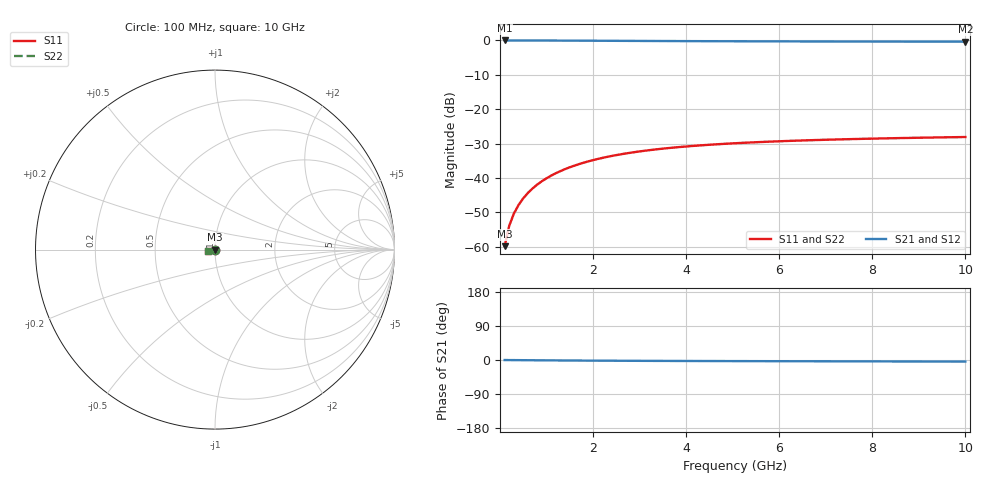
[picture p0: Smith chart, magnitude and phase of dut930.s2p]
! Touchstone file exported from HFSS 2024.1.0
!  File:  C:/UserFiles/LocalFiles/RDL_TSV_Batchsim/temp_TSV1_930_1779947010.aedt
!  Generated:  01:50:17 PM May 28, 2026
!  Design:  TSV1
!  Project:  temp_TSV1_930_1779947010
!  Setup:  Setup1
!  Solution:  Sweep
! Variables:
!  dtsv = 9.83um
!  hbump = 3um
!  htsv = 64.22um
!  lrdl = 252.1521522um
!  p = 40
!  p1 = 42.15um
!  t = 500um
!  trdl = 3um
!  wrdl = 24.89489489um
# GHz S MA R 50.000000
! Terminal data exported
! Port[1] = TSV22_T1
! Port[2] = TSV22_T2
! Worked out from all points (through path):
!   100 points, 100 MHz to 10 GHz, reference 50 ohm
!   highest |S21| = 0.00 dB at 100 MHz (marker M1); lowest = -0.4 dB at 10 GHz (marker M2)
!   lowest |S11| = -59.8 dB at 100 MHz (marker M3), VSWR 1.00, Z = 50 - j0.101 ohm
!   |S11| at or under -10 dB: start of sweep to end of sweep
!   |S22| runs from -59.8 to -28.1 dB; largest |S21 - S12| = 4.1e-15
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0.1  0.001017 -84.0  0.9998 -0.1  0.9998 -0.1  0.001017 -84.0
! Gamma 0 0 0 0
! Port Impedance 50 0 50 0
0.2  0.002026 -89.1  0.9997 -0.2  0.9997 -0.2  0.002026 -89.1
0.3  0.003038 -91.9  0.9996 -0.3  0.9996 -0.3  0.003038 -91.9
0.4  0.004048 -94.1  0.9994 -0.4  0.9994 -0.4  0.004048 -94.1
0.5  0.005051 -96.0  0.9991 -0.5  0.9991 -0.5  0.005051 -96.0
0.6  0.006044 -97.8  0.9988 -0.6  0.9988 -0.6  0.006044 -97.8
0.7  0.007026 -99.6  0.9984 -0.7  0.9984 -0.7  0.007026 -99.6
0.8  0.007994 -101.3  0.998 -0.8  0.998 -0.8  0.007994 -101.3
0.9  0.008947 -102.9  0.9976 -0.8  0.9976 -0.8  0.008947 -102.9
1.1  0.0108 -106.1  0.9966 -1.0  0.9966 -1.0  0.0108 -106.1
1.4  0.01345 -110.5  0.9949 -1.3  0.9949 -1.3  0.01345 -110.5
1.6  0.0151 -113.4  0.9936 -1.4  0.9936 -1.4  0.0151 -113.4
1.8  0.01667 -116.1  0.9922 -1.5  0.9922 -1.5  0.01667 -116.1
2.1  0.01887 -120.0  0.9902 -1.7  0.9902 -1.7  0.01887 -120.0
2.5  0.02149 -124.8  0.9873 -2.0  0.9873 -2.0  0.02149 -124.8
2.9  0.02378 -129.1  0.9846 -2.2  0.9846 -2.2  0.02378 -129.1
3.4  0.02624 -134.0  0.9814 -2.4  0.9814 -2.4  0.02624 -134.0
4.2  0.0294 -140.8  0.9768 -2.7  0.9768 -2.7  0.0294 -140.8
5.1  0.0321 -147.2  0.9725 -2.9  0.9725 -2.9  0.0321 -147.2
6.7  0.03544 -156.2  0.9669 -3.4  0.9669 -3.4  0.03544 -156.2
8.4  0.03779 -163.7  0.9628 -3.8  0.9628 -3.8  0.03779 -163.7
10  0.03937 -169.4  0.9601 -4.2  0.9601 -4.2  0.03937 -169.4
